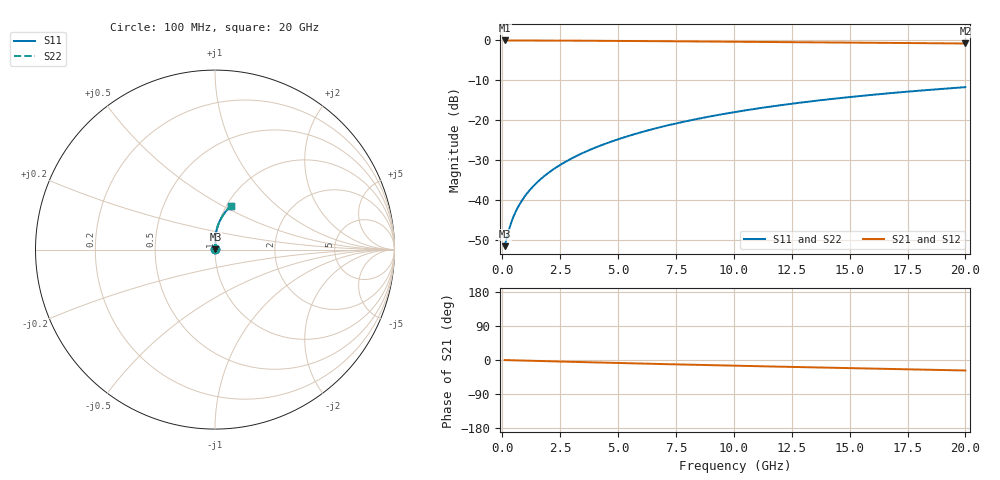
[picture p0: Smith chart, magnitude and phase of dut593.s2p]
! Touchstone file exported from HFSS 2024.1.0
!  File:  C:/UserFiles/LocalFiles/RDL_TSV_Batchsim/temp_RDL_bottom_593_1779691142.aedt
!  Generated:  02:41:53 PM May 25, 2026
!  Design:  RDL_bottom
!  Project:  temp_RDL_bottom_593_1779691142
!  Setup:  Setup1
!  Solution:  Sweep
! Variables:
!  dtsv = 10.80580581um
!  hbump = 3um
!  htsv = 91.28um
!  ldown = 371.82um
!  lrdl = 100um
!  p = 40
!  p1 = 50.07um
!  rhole = 1um
!  t = 450um
!  tdown = 2.52um
!  trdl = 3.915915916um
!  wdown = 25.54um
!  wrdl = 20um
# GHz S MA R 50.000000
! Terminal data exported
! Port[1] = RDL1_T1
! Port[2] = RDL1_T2
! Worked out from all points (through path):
!   200 points, 100 MHz to 20 GHz, reference 50 ohm
!   highest |S21| = -0.02 dB at 100 MHz (marker M1); lowest = -0.8 dB at 20 GHz (marker M2)
!   group delay of S21, straight-line fit = 3.8 ps
!   lowest |S11| = -51.4 dB at 100 MHz (marker M3), VSWR 1.01, Z = 50.2 + j0.125 ohm
!   |S11| at or under -10 dB: start of sweep to end of sweep
!   |S22| runs from -51.4 to -11.7 dB; largest |S21 - S12| = 4e-15
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0.1  0.00268 27.6  0.9976 -0.2  0.9976 -0.2  0.00268 27.6
! Gamma 0 0 0 0
! Port Impedance 50 0 50 0
0.3  0.004424 54.7  0.9974 -0.5  0.9974 -0.5  0.004425 54.7
0.4  0.005427 60.7  0.9972 -0.7  0.9972 -0.7  0.005427 60.7
0.5  0.006437 64.8  0.9971 -0.8  0.9971 -0.8  0.006438 64.8
0.6  0.007448 67.9  0.9969 -1.0  0.9969 -1.0  0.007448 67.9
0.8  0.009476 72.3  0.9967 -1.3  0.9967 -1.3  0.009476 72.3
1  0.01153 75.4  0.9964 -1.7  0.9964 -1.7  0.01153 75.4
1.2  0.0136 77.7  0.9961 -2.0  0.9961 -2.0  0.0136 77.7
1.7  0.01892 81.5  0.9952 -2.8  0.9952 -2.8  0.01892 81.5
2.2  0.02441 83.9  0.9941 -3.6  0.9941 -3.6  0.02441 83.9
2.8  0.03121 85.7  0.9926 -4.5  0.9926 -4.5  0.03121 85.7
3.5  0.03943 86.9  0.9904 -5.6  0.9904 -5.6  0.03943 86.9
4.2  0.04796 87.6  0.9879 -6.7  0.9879 -6.7  0.04796 87.6
5  0.05807 87.9  0.9847 -7.9  0.9847 -7.9  0.05807 87.9
5.9  0.06984 87.8  0.9809 -9.2  0.9809 -9.2  0.06983 87.8
6.8  0.08194 87.3  0.9768 -10.5  0.9768 -10.5  0.08194 87.3
8.4  0.104 85.9  0.9694 -12.8  0.9694 -12.8  0.104 85.8
10.1  0.1279 83.8  0.9613 -15.1  0.9613 -15.1  0.1279 83.8
11.7  0.1504 81.7  0.9537 -17.2  0.9537 -17.2  0.1503 81.7
13.4  0.1739 79.3  0.9456 -19.4  0.9456 -19.4  0.1739 79.3
16.7  0.2183 74.5  0.9299 -23.6  0.9299 -23.6  0.2183 74.5
20  0.2601 69.9  0.9141 -27.6  0.9141 -27.6  0.2601 69.9
